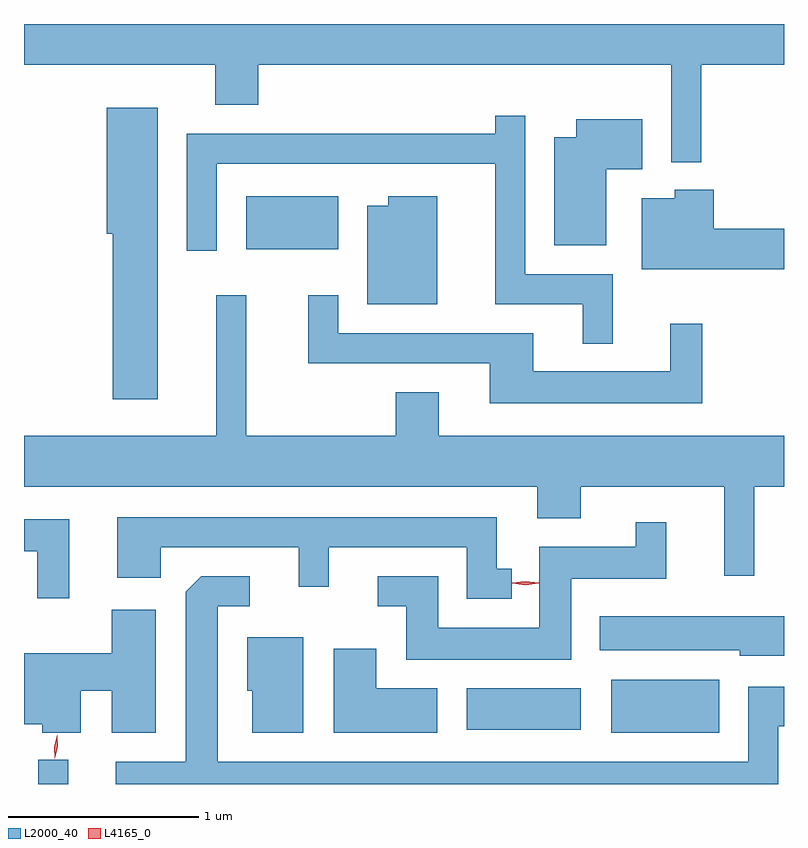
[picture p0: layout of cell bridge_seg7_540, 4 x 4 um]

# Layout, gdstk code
import gdstk
lib = gdstk.Library(unit=1e-6, precision=1e-09)
def R(c, l, rs):  # rectangles x0, y0, x1, y1
    for r in rs: c.add(gdstk.rectangle(r[:2], r[2:], *l))
def P(c, l, *ps):  # polygons
    for p in ps: c.add(gdstk.Polygon(p, *l))
L2000_40 = (2000, 40)
L4165_0 = (4165, 0)

bridge_seg7_540 = lib.new_cell('bridge_seg7_540')
R(bridge_seg7_540, L2000_40, [(956.756,1770.471,956.914,1770.598), (959.771,1770.741,960.339,1771.019), (959.011,1770.756,959.609,1770.974), (957.851,1773.286,958.334,1773.564)])
P(bridge_seg7_540, L2000_40, [(960.244,1774.256),(960.68,1774.256),(960.68,1774.471),(956.68,1774.471),(956.68,1774.256),(957.686,1774.256),(957.686,1774.046),(957.914,1774.046),(957.914,1774.256),(960.086,1774.256),(960.086,1773.743),(960.244,1773.743)],
  [(957.384,1774.029),(957.116,1774.029),(957.116,1773.366),(957.146,1773.366),(957.146,1772.496),(957.384,1772.496)],
  [(959.779,1773.154),(959.319,1773.154),(959.319,1773.988),(959.161,1773.988),(959.161,1773.894),(957.536,1773.894),(957.536,1773.278),(957.694,1773.278),(957.694,1773.736),(959.161,1773.736),(959.161,1772.996),(959.621,1772.996),(959.621,1772.788),(959.779,1772.788)],
  [(959.744,1773.706),(959.934,1773.706),(959.934,1773.969),(959.586,1773.969),(959.586,1773.874),(959.471,1773.874),(959.471,1773.306),(959.744,1773.306)],
  [(960.68,1773.394),(960.309,1773.394),(960.309,1773.599),(960.106,1773.599),(960.106,1773.554),(959.931,1773.554),(959.931,1773.181),(960.68,1773.181)],
  [(958.854,1773.564),(958.596,1773.564),(958.596,1773.514),(958.486,1773.514),(958.486,1772.996),(958.854,1772.996)],
  [(960.524,1772.036),(960.68,1772.036),(960.68,1772.304),(958.864,1772.304),(958.864,1772.534),(958.636,1772.534),(958.636,1772.304),(957.849,1772.304),(957.849,1773.043),(957.691,1773.043),(957.691,1772.304),(956.68,1772.304),(956.68,1772.036),(959.381,1772.036),(959.381,1771.871),(959.609,1771.871),(959.609,1772.036),(960.366,1772.036),(960.366,1771.568),(960.524,1771.568)],
  [(960.249,1772.893),(960.081,1772.893),(960.081,1772.644),(959.359,1772.644),(959.359,1772.844),(958.334,1772.844),(958.334,1773.043),(958.176,1773.043),(958.176,1772.686),(959.131,1772.686),(959.131,1772.476),(960.249,1772.476)],
  [(959.248,1771.604),(959.169,1771.604),(959.169,1771.874),(957.171,1771.874),(957.171,1771.556),(957.399,1771.556),(957.399,1771.716),(958.126,1771.716),(958.126,1771.508),(958.284,1771.508),(958.284,1771.716),(959.011,1771.716),(959.011,1771.446),(959.248,1771.446)],
  [(956.919,1771.864),(956.68,1771.864),(956.68,1771.696),(956.751,1771.696),(956.751,1771.448),(956.919,1771.448)],
  [(959.559,1771.551),(960.059,1771.551),(960.059,1771.848),(959.901,1771.848),(959.901,1771.719),(959.391,1771.719),(959.391,1771.294),(958.859,1771.294),(958.859,1771.564),(958.543,1771.564),(958.543,1771.406),(958.691,1771.406),(958.691,1771.126),(959.559,1771.126)],
  [(960.649,1770.776),(960.68,1770.776),(960.68,1770.984),(960.491,1770.984),(960.491,1770.589),(957.699,1770.589),(957.699,1771.406),(957.868,1771.406),(957.868,1771.564),(957.612,1771.564),(957.531,1771.484),(957.531,1770.589),(957.163,1770.589),(957.163,1770.471),(960.649,1770.471)],
  [(956.979,1770.961),(957.141,1770.961),(957.141,1770.741),(957.374,1770.741),(957.374,1771.389),(957.141,1771.389),(957.141,1771.159),(956.68,1771.159),(956.68,1770.786),(956.776,1770.786),(956.776,1770.741),(956.979,1770.741)],
  [(960.68,1771.354),(959.711,1771.354),(959.711,1771.176),(960.446,1771.176),(960.446,1771.146),(960.68,1771.146)],
  [(958.149,1771.244),(957.856,1771.244),(957.856,1770.961),(957.881,1770.961),(957.881,1770.741),(958.149,1770.741)],
  [(958.854,1770.974),(958.534,1770.974),(958.534,1771.184),(958.311,1771.184),(958.311,1770.741),(958.854,1770.741)])
P(bridge_seg7_540, L4165_0, [(956.842,1770.603),(956.841,1770.604),(956.838,1770.668),(956.854,1770.73),(956.854,1770.731),(956.854,1770.73),(956.858,1770.666),(956.842,1770.604)],
  [(959.318,1771.518),(959.249,1771.528),(959.249,1771.528),(959.249,1771.529),(959.318,1771.538),(959.388,1771.529),(959.388,1771.528),(959.388,1771.528)])

lib.write_gds('bridge_seg7_540.gds')
